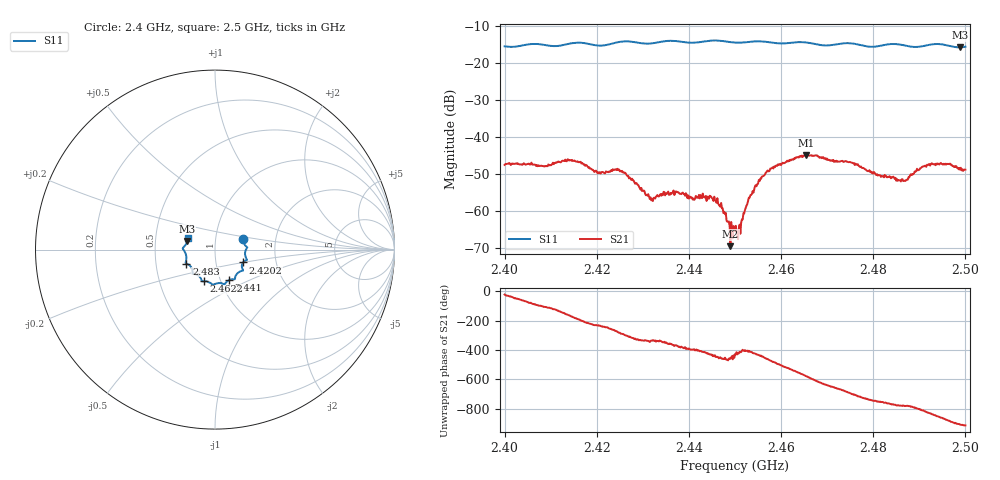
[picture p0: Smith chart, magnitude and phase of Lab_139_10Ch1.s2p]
# Hz S RI R 50
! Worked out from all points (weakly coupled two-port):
!   601 points, 2.4 GHz to 2.5 GHz, reference 50 ohm
!   highest |S21| = -44.90 dB at 2.4655 GHz (marker M1); lowest = -69.5 dB at 2.449 GHz (marker M2)
!   lowest |S11| = -15.8 dB at 2.4988 GHz (marker M3), VSWR 1.39, Z = 36.4 + j3.46 ohm
!   |S11| at or under -10 dB: start of sweep to end of sweep
!   S12 and S22 are empty: the file has one direction only
!   S11 on the Smith chart (normalised r, x): 2.4 GHz: 1.36, +0.17; 2.4202 GHz: 1.35, -0.20; 2.441 GHz: 1.09, -0.39; 2.4622 GHz: 0.83, -0.30; 2.483 GHz: 0.72, -0.12; 2.5 GHz: 0.73, +0.09
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2.4e9  0.1563 0.0604  0.00388 -0.00156  0 0  0 0
2.416667e9  0.1776 -0.0582  -0.00411 0.00146  0 0  0 0
2.420167e9  0.1562 -0.0717  -0.00195 0.00257  0 0  0 0
2.425e9  0.1558 -0.1129  0.000692 0.00336  0 0  0 0
2.431833e9  0.1191 -0.1393  0.00126 0.000594  0 0  0 0
2.433333e9  0.1128 -0.1523  0.00146 0.00059  0 0  0 0
2.441e9  0.0769 -0.1705  0.00119 -0.00087  0 0  0 0
2.446e9  0.0517 -0.1938  6.24e-05 -0.00128  0 0  0 0
2.449e9  0.0362 -0.1872  -5.62e-05 -0.00033  0 0  0 0
2.45e9  0.0266 -0.1863  0.000204 -0.000492  0 0  0 0
2.450833e9  0.0184 -0.1866  0.000273 -0.000512  0 0  0 0
2.453e9  -0.000406 -0.1918  0.00107 -0.00106  0 0  0 0
2.455667e9  -0.0127 -0.1947  0.000575 -0.00267  0 0  0 0
2.462167e9  -0.0631 -0.1762  -0.00478 -0.000713  0 0  0 0
2.4655e9  -0.0746 -0.1731  -0.0045 0.00348  0 0  0 0
2.466667e9  -0.0765 -0.1669  -0.00321 0.00467  0 0  0 0
2.483e9  -0.1592 -0.078  0.00209 -0.00193  0 0  0 0
2.483333e9  -0.1608 -0.0774  0.00208 -0.00198  0 0  0 0
2.487e9  -0.1605 -0.0595  0.00126 -0.00221  0 0  0 0
2.492333e9  -0.1765 -0.000397  -0.00144 -0.00385  0 0  0 0
2.498833e9  -0.1553 0.0462  -0.00358 0.000496  0 0  0 0
2.5e9  -0.153 0.0628  -0.00352 0.000806  0 0  0 0
